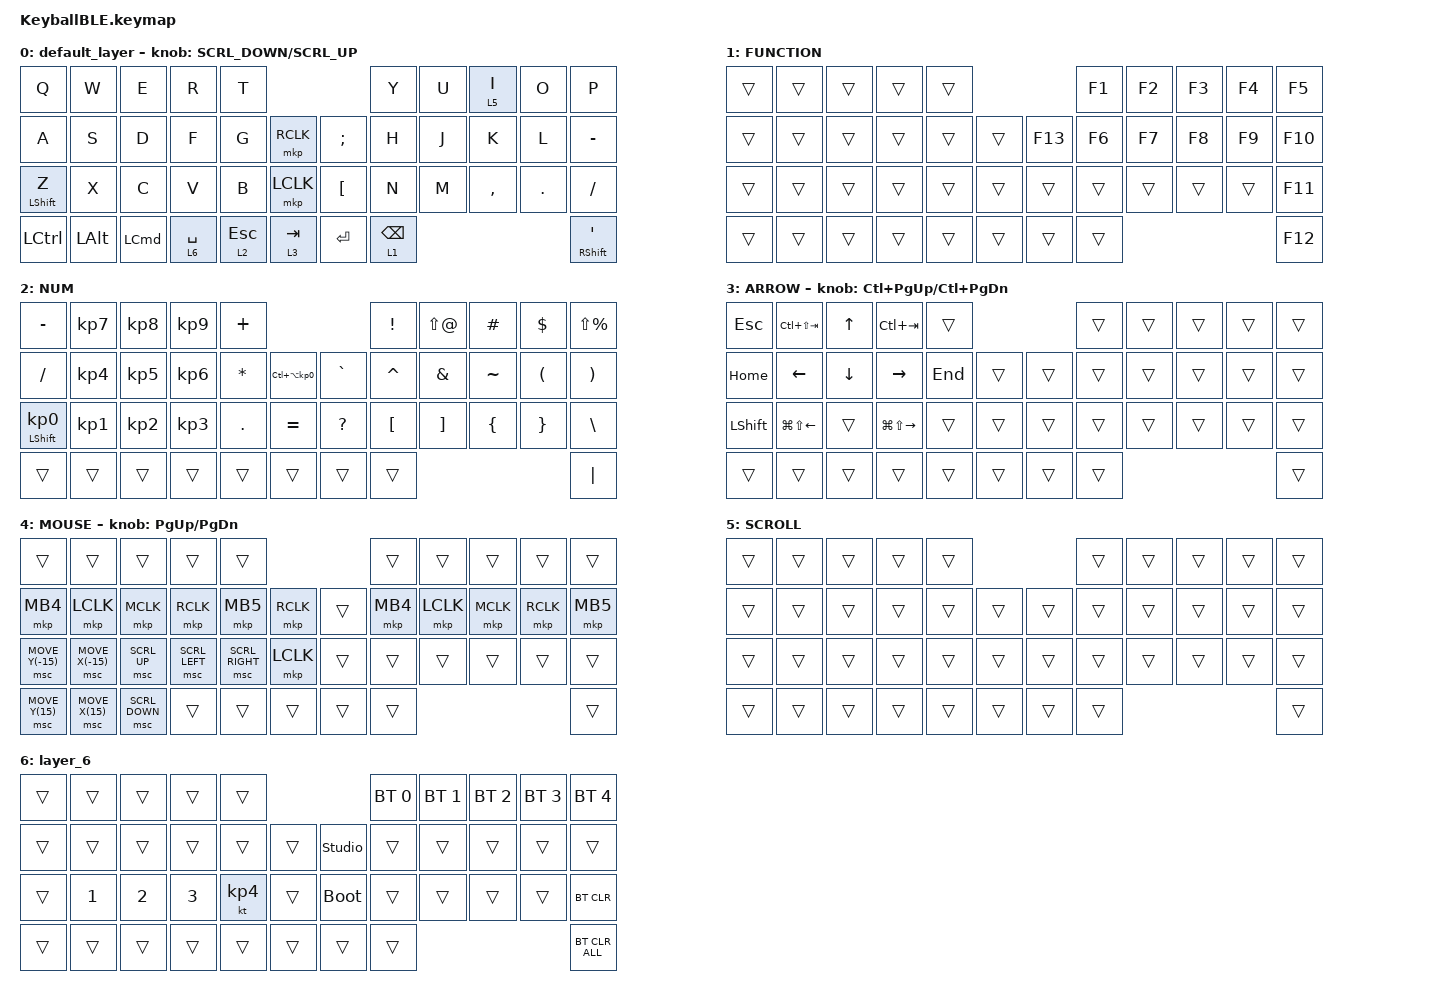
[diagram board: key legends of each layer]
#define ZMK_POINTING_DEFAULT_SCRL_VAL 120    // default: 10

#include <behaviors.dtsi>
#include <dt-bindings/zmk/bt.h>
#include <dt-bindings/zmk/keys.h>
#include <dt-bindings/zmk/pointing.h>

#define MOUSE 4
#define SCROLL 5
#define NUM 6

&mt {
    flavor = "balanced";
    quick-tap-ms = <0>;
};

/ {
    combos {
        compatible = "zmk,combos";

        double_quotation {
            bindings = <&kp DOUBLE_QUOTES>;
            key-positions = <20 21>;
        };

        zenkaku-hankaku {
            bindings = <&kp LANGUAGE_5>;
            key-positions = <10 11>;
        };
    };

    macros {
        to_layer_0: to_layer_0 {
            compatible = "zmk,behavior-macro-one-param";
            #binding-cells = <1>;
            bindings = <&to 0 &macro_param_1to1 &kp MACRO_PLACEHOLDER>;
            label = "TO_LAYER_0";
        };
    };

    behaviors {
        lt_to_layer_0: lt_to_layer_0 {
            compatible = "zmk,behavior-hold-tap";
            label = "LAYER_TAP_TO_0";
            bindings = <&mo>, <&to_layer_0>;

            #binding-cells = <2>;
            tapping-term-ms = <200>;
        };

        ROTATE: ROTATE {
            compatible = "zmk,behavior-sensor-rotate-var";
            label = "ROTATE";
            #sensor-binding-cells = <2>;
            bindings = <&msc>, <&msc>;

            tap-ms = <20>;
        };
    };

    keymap {
        compatible = "zmk,keymap";

        default_layer {
            bindings = <
&kp Q             &kp W         &kp E             &kp R                   &kp T                                                     &kp Y            &kp U  &lt 5 I    &kp O    &kp P
&kp A             &kp S         &kp D             &kp F                   &kp G         &mkp RCLK                 &kp SEMI          &kp H            &kp J  &kp K      &kp L    &kp MINUS
&mt LEFT_SHIFT Z  &kp X         &kp C             &kp V                   &kp B         &mkp LCLK                 &kp LEFT_BRACKET  &kp N            &kp M  &kp COMMA  &kp DOT  &kp SLASH
&kp LCTRL         &kp LEFT_ALT  &kp LEFT_COMMAND  &lt_to_layer_0 6 SPACE  &lt 2 ESCAPE  &lt_to_layer_0 3 TAB      &kp ENTER         &lt 1 BACKSPACE                             &mt RIGHT_SHIFT SQT
            >;

            sensor-bindings = <&ROTATE SCRL_DOWN SCRL_UP>;
        };

        FUNCTION {
            bindings = <
&trans  &trans  &trans  &trans  &trans                       &kp F1  &kp F2  &kp F3  &kp F4  &kp F5
&trans  &trans  &trans  &trans  &trans  &trans      &kp F13  &kp F6  &kp F7  &kp F8  &kp F9  &kp F10
&trans  &trans  &trans  &trans  &trans  &trans      &trans   &trans  &trans  &trans  &trans  &kp F11
&trans  &trans  &trans  &trans  &trans  &trans      &trans   &trans                          &kp F12
            >;
        };

        NUM {
            bindings = <
&kp MINUS                   &kp KP_NUMBER_7  &kp KP_NUMBER_8  &kp KP_NUMBER_9  &kp PLUS                                                 &kp EXCLAMATION   &kp LS(AT_SIGN)    &kp HASH        &kp DOLLAR            &kp LS(PERCENT)
&kp SLASH                   &kp KP_NUMBER_4  &kp KP_NUMBER_5  &kp KP_NUMBER_6  &kp ASTERISK  &kp LC(LA(KP_NUMBER_0))      &kp GRAVE     &kp CARET         &kp AMPERSAND      &kp TILDE       &kp LEFT_PARENTHESIS  &kp RIGHT_PARENTHESIS
&mt LEFT_SHIFT KP_NUMBER_0  &kp KP_NUMBER_1  &kp KP_NUMBER_2  &kp KP_NUMBER_3  &kp PERIOD    &kp EQUAL                    &kp QUESTION  &kp LEFT_BRACKET  &kp RIGHT_BRACKET  &kp LEFT_BRACE  &kp RIGHT_BRACE       &kp BACKSLASH
&trans                      &trans           &trans           &trans           &trans        &trans                       &trans        &trans                                                                     &kp PIPE
            >;
        };

        ARROW {
            bindings = <
&kp ESCAPE      &kp LC(LS(TAB))         &kp UP_ARROW    &kp LC(TAB)              &trans                       &trans  &trans  &trans  &trans  &trans
&kp HOME        &kp LEFT_ARROW          &kp DOWN_ARROW  &kp RIGHT_ARROW          &kp END  &trans      &trans  &trans  &trans  &trans  &trans  &trans
&kp LEFT_SHIFT  &kp LG(LS(LEFT_ARROW))  &trans          &kp LG(LS(RIGHT_ARROW))  &trans   &trans      &trans  &trans  &trans  &trans  &trans  &trans
&trans          &trans                  &trans          &trans                   &trans   &trans      &trans  &trans                          &trans
            >;

            sensor-bindings = <&inc_dec_kp LC(PAGE_UP) LC(PAGE_DOWN)>;
        };

        MOUSE {
            bindings = <
&trans            &trans            &trans          &trans          &trans                                  &trans    &trans     &trans     &trans     &trans
&mkp MB4          &mkp LCLK         &mkp MCLK       &mkp RCLK       &mkp MB5         &mkp RCLK      &trans  &mkp MB4  &mkp LCLK  &mkp MCLK  &mkp RCLK  &mkp MB5
&msc MOVE_Y(-15)  &msc MOVE_X(-15)  &msc SCRL_UP    &msc SCRL_LEFT  &msc SCRL_RIGHT  &mkp LCLK      &trans  &trans    &trans     &trans     &trans     &trans
&msc MOVE_Y(15)   &msc MOVE_X(15)   &msc SCRL_DOWN  &trans          &trans           &trans         &trans  &trans                                     &trans
            >;

            sensor-bindings = <&inc_dec_kp PAGE_UP PAGE_DOWN>;
        };

        SCROLL {
            bindings = <
&trans  &trans  &trans  &trans  &trans                      &trans  &trans  &trans  &trans  &trans
&trans  &trans  &trans  &trans  &trans  &trans      &trans  &trans  &trans  &trans  &trans  &trans
&trans  &trans  &trans  &trans  &trans  &trans      &trans  &trans  &trans  &trans  &trans  &trans
&trans  &trans  &trans  &trans  &trans  &trans      &trans  &trans                          &trans
            >;
        };

        layer_6 {
            bindings = <
&trans  &trans        &trans        &trans        &trans                                 &bt BT_SEL 0  &bt BT_SEL 1  &bt BT_SEL 2  &bt BT_SEL 3  &bt BT_SEL 4
&trans  &trans        &trans        &trans        &trans     &trans      &studio_unlock  &trans        &trans        &trans        &trans        &trans
&trans  &kp NUMBER_1  &kp NUMBER_2  &kp NUMBER_3  &kt KP_N4  &trans      &bootloader     &trans        &trans        &trans        &trans        &bt BT_CLR
&trans  &trans        &trans        &trans        &trans     &trans      &trans          &trans                                                  &bt BT_CLR_ALL
            >;
        };
    };
};
